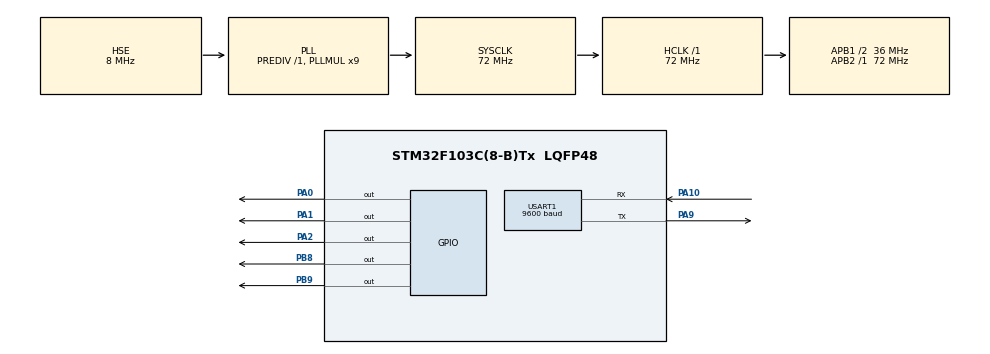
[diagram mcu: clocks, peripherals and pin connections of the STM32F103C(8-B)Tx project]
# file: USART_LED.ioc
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Mcu.Family=STM32F1
Mcu.Name=STM32F103C(8-B)Tx
Mcu.Package=LQFP48
NVIC.PriorityGroup=NVIC_PRIORITYGROUP_4
NVIC.USART1_IRQn=true\:0\:0\:false\:false\:true\:true\:true\:true
PA0-WKUP.Signal=GPIO_Output
PA1.Signal=GPIO_Output
PA10.Mode=Asynchronous
PA10.Signal=USART1_RX
PA13.Mode=Serial_Wire
PA13.Signal=SYS_JTMS-SWDIO
PA14.Mode=Serial_Wire
PA14.Signal=SYS_JTCK-SWCLK
PA2.Signal=GPIO_Output
PA9.Mode=Asynchronous
PA9.Signal=USART1_TX
PB8.GPIO_ModeDefaultOutputPP=GPIO_MODE_OUTPUT_OD
PB8.GPIO_PuPd=GPIO_NOPULL
PB8.Signal=GPIO_Output
PB9.GPIO_ModeDefaultOutputPP=GPIO_MODE_OUTPUT_OD
PB9.GPIO_PuPd=GPIO_NOPULL
PB9.Signal=GPIO_Output
PD0-OSC_IN.Mode=HSE-External-Oscillator
PD0-OSC_IN.Signal=RCC_OSC_IN
PD1-OSC_OUT.Mode=HSE-External-Oscillator
PD1-OSC_OUT.Signal=RCC_OSC_OUT
ProjectManager.HeapSize=0x200
ProjectManager.StackSize=0x400
ProjectManager.TargetToolchain=STM32CubeIDE
RCC.AHBFreq_Value=72000000
RCC.APB1CLKDivider=RCC_HCLK_DIV2
RCC.APB1Freq_Value=36000000
RCC.APB1TimFreq_Value=72000000
RCC.APB2Freq_Value=72000000
RCC.APB2TimFreq_Value=72000000
RCC.HCLKFreq_Value=72000000
RCC.PLLMUL=RCC_PLL_MUL9
RCC.PLLSourceVirtual=RCC_PLLSOURCE_HSE
RCC.SYSCLKFreq_VALUE=72000000
RCC.SYSCLKSource=RCC_SYSCLKSOURCE_PLLCLK
RCC.USBFreq_Value=72000000
USART1.BaudRate=9600
USART1.VirtualMode=VM_ASYNC
board=custom

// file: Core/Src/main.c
/* USER CODE BEGIN Header */
/**
  ******************************************************************************
  * @file           : main.c
  * @brief          : Main program body
  ******************************************************************************
  * @attention
  *
  * Copyright (c) 2026 STMicroelectronics.
  * All rights reserved.
  *
  * This software is licensed under terms that can be found in the LICENSE file
  * in the root directory of this software component.
  * If no LICENSE file comes with this software, it is provided AS-IS.
  *
  ******************************************************************************
  */
/* USER CODE END Header */
#include "main.h"
#include "usart.h"
#include "gpio.h"
#include "string.h"
/* USER CODE BEGIN Includes */
#include "OLED.h"
/* USER CODE END Includes */

/* USER CODE BEGIN PD */
#define RX_MaxLength 				64
/* USER CODE END PD */

/* USER CODE BEGIN PV */
extern uint8_t RX_String[RX_MaxLength];
extern uint8_t RX_Data;
extern uint8_t RX_Flag;
/* USER CODE END PV */

void SystemClock_Config(void);

int main(void)
{

  /* MCU Configuration--------------------------------------------------------*/

  /* Reset of all peripherals, Initializes the Flash interface and the Systick. */
  HAL_Init();

  /* USER CODE BEGIN Init */
  OLED_Init();
  /* USER CODE END Init */

  /* Configure the system clock */
  SystemClock_Config();

  /* Initialize all configured peripherals */
  MX_GPIO_Init();
  MX_USART1_UART_Init();
  /* USER CODE BEGIN 2 */
  OLED_ShowString(1,1,"LED0:");
  OLED_ShowString(2,1,"LED1:");
  OLED_ShowString(3,1,"LED2:");
  HAL_UART_Receive_IT(&huart1, &RX_Data, 1);
  /* USER CODE END 2 */

  /* Infinite loop */
  /* USER CODE BEGIN WHILE */
  while (1)
  {
	  if(RX_Flag==1)
	  {
		  RX_Flag=0;
		  if(strcmp((char*)RX_String,"LED0_ON")==0)
		  {
			  HAL_GPIO_WritePin(GPIOA, GPIO_PIN_0, GPIO_PIN_SET);
			  OLED_ShowString(1,6,"ON");
		  }
		  else if(strcmp((char*)RX_String,"LED0_OFF")==0)
		  {
			  HAL_GPIO_WritePin(GPIOA, GPIO_PIN_0, GPIO_PIN_RESET);
			  OLED_ShowString(1,6,"OFF");
		  }
		  else if(strcmp((char*)RX_String,"LED1_ON")==0)
		  {
			  HAL_GPIO_WritePin(GPIOA, GPIO_PIN_1, GPIO_PIN_SET);
			  OLED_ShowString(2,6,"ON");
		  }
		  else if(strcmp((char*)RX_String,"LED1_OFF")==0)
		  {
			  HAL_GPIO_WritePin(GPIOA, GPIO_PIN_1, GPIO_PIN_RESET);
			  OLED_ShowString(2,6,"OFF");
		  }
		  else if(strcmp((char*)RX_String,"LED2_ON")==0)
		  {
			  HAL_GPIO_WritePin(GPIOA, GPIO_PIN_2, GPIO_PIN_SET);
			  OLED_ShowString(3,6,"ON");
		  }
		  else if(strcmp((char*)RX_String,"LED2_OFF")==0)
		  {
			  HAL_GPIO_WritePin(GPIOA, GPIO_PIN_2, GPIO_PIN_RESET);
			  OLED_ShowString(3,6,"OFF");
		  }
		  else if(strcmp((char*)RX_String,"LED_ON")==0)
		  {
		      HAL_GPIO_WritePin(GPIOA, GPIO_PIN_0|GPIO_PIN_1|GPIO_PIN_2, GPIO_PIN_SET);
		      OLED_ShowString(1,6,"ON");
		      OLED_ShowString(2,6,"ON");
		      OLED_ShowString(3,6,"ON");
		  }
		  else if(strcmp((char*)RX_String,"LED_OFF")==0)
		  {
		      HAL_GPIO_WritePin(GPIOA, GPIO_PIN_0|GPIO_PIN_1|GPIO_PIN_2, GPIO_PIN_RESET);
		      OLED_ShowString(1,6,"OFF");
		      OLED_ShowString(2,6,"OFF");
		      OLED_ShowString(3,6,"OFF");
		  }
	  }
    /* USER CODE END WHILE */

  }
}

void SystemClock_Config(void)
{
  RCC_OscInitTypeDef RCC_OscInitStruct = {0};
  RCC_ClkInitTypeDef RCC_ClkInitStruct = {0};

  /** Initializes the RCC Oscillators according to the specified parameters
  * in the RCC_OscInitTypeDef structure.
  */
  RCC_OscInitStruct.OscillatorType = RCC_OSCILLATORTYPE_HSE;
  RCC_OscInitStruct.HSEState = RCC_HSE_ON;
  RCC_OscInitStruct.HSEPredivValue = RCC_HSE_PREDIV_DIV1;
  RCC_OscInitStruct.HSIState = RCC_HSI_ON;
  RCC_OscInitStruct.PLL.PLLState = RCC_PLL_ON;
  RCC_OscInitStruct.PLL.PLLSource = RCC_PLLSOURCE_HSE;
  RCC_OscInitStruct.PLL.PLLMUL = RCC_PLL_MUL9;
  if (HAL_RCC_OscConfig(&RCC_OscInitStruct) != HAL_OK)
  {
    Error_Handler();
  }

  /** Initializes the CPU, AHB and APB buses clocks
  */
  RCC_ClkInitStruct.ClockType = RCC_CLOCKTYPE_HCLK|RCC_CLOCKTYPE_SYSCLK
                              |RCC_CLOCKTYPE_PCLK1|RCC_CLOCKTYPE_PCLK2;
  RCC_ClkInitStruct.SYSCLKSource = RCC_SYSCLKSOURCE_PLLCLK;
  RCC_ClkInitStruct.AHBCLKDivider = RCC_SYSCLK_DIV1;
  RCC_ClkInitStruct.APB1CLKDivider = RCC_HCLK_DIV2;
  RCC_ClkInitStruct.APB2CLKDivider = RCC_HCLK_DIV1;

  if (HAL_RCC_ClockConfig(&RCC_ClkInitStruct, FLASH_LATENCY_2) != HAL_OK)
  {
    Error_Handler();
  }
}

void Error_Handler(void)
{
  __disable_irq();
  while (1)
  {
  }
}
